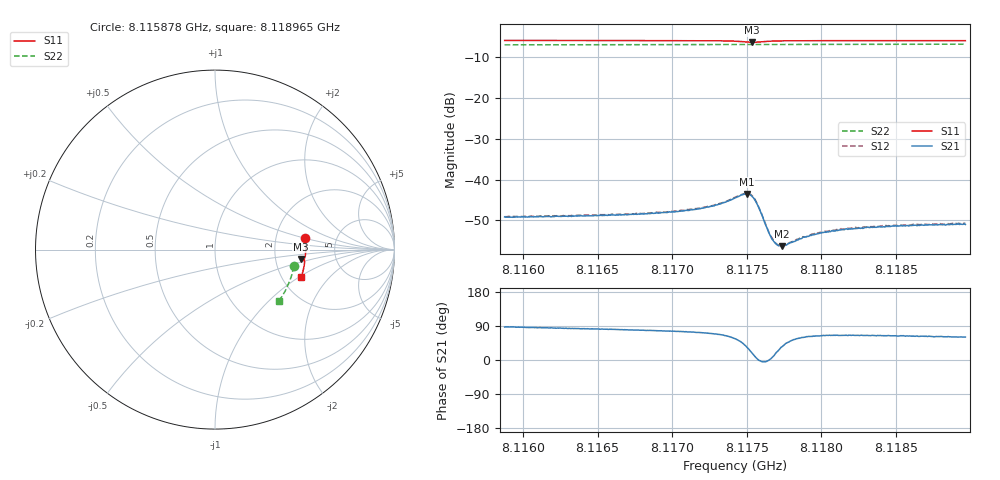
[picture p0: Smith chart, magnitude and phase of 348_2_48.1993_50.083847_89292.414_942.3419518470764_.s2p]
#  HZ  S  RI  R  50.00
! Rohde & Schwarz Vector Network Analyzer
! Rohde-Schwarz,ZNB20-2Port,1311601062101988,3.16
! Created: UTC 3/20/2024, 11:51:41 AM
! freq[Hz]  re:S11  im:S11  re:S21  im:S21  re:S12  im:S12  re:S22  im:S22
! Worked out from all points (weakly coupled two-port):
!   401 points, 8.115878 GHz to 8.118965 GHz, reference 50 ohm
!   highest |S21| = -43.47 dB at 8.117498 GHz (marker M1); lowest = -56.3 dB at 8.117737 GHz (marker M2)
!   lowest |S11| = -6.3 dB at 8.117537 GHz (marker M3), VSWR 2.86, Z = 140 - j18.9 ohm
!   |S11| at or under -10 dB: nowhere
!   |S22| runs from -7.0 to -6.8 dB; largest |S21 - S12| = 0.00017
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8.1158776e9  0.503 0.0672  0.000183 0.0035  0.000215 0.00351  0.4385 -0.0928
8.1163946e9  0.506 0.0285  0.000458 0.00357  0.000493 0.00364  0.4309 -0.1279
8.1169117e9  0.5057 -0.011  0.000872 0.0038  0.000927 0.00388  0.4208 -0.1623
8.1171973e9  0.5033 -0.0345  0.00137 0.00425  0.00143 0.00428  0.4138 -0.181
8.1173207e9  0.5004 -0.0458  0.00195 0.00463  0.00207 0.0047  0.4105 -0.1893
8.1174211e9  0.494 -0.0556  0.00332 0.00498  0.00342 0.00502  0.4075 -0.1958
8.1174982e9  0.4829 -0.0577  0.00549 0.00384  0.00561 0.00386  0.405 -0.2003
8.1175214e9  0.4797 -0.0546  0.00594 0.00274  0.0061 0.00272  0.4041 -0.2014
8.1175368e9  0.4791 -0.0517  0.00592 0.00184  0.00607 0.00181  0.4037 -0.2023
8.11756e9  0.4806 -0.0474  0.00537 0.000652  0.00549 0.000639  0.4033 -0.2037
8.1175754e9  0.483 -0.0456  0.00476 8.56e-05  0.00485 7.58e-05  0.4031 -0.2045
8.1176449e9  0.4935 -0.0484  0.0023 -4.67e-05  0.00236 -7.26e-05  0.4015 -0.2088
8.117668e9  0.4954 -0.051  0.00186 0.000198  0.00194 0.000189  0.4009 -0.2104
8.1176989e9  0.4971 -0.0545  0.00151 0.000561  0.00155 0.000547  0.3999 -0.2125
8.1177221e9  0.498 -0.0572  0.00136 0.000775  0.00138 0.000778  0.3994 -0.2139
8.1177375e9  0.4984 -0.0588  0.00125 0.000887  0.0013 0.000938  0.3989 -0.2149
8.1177606e9  0.4987 -0.0613  0.00113 0.00108  0.00118 0.00106  0.398 -0.2164
8.1178224e9  0.499 -0.0673  0.00102 0.00143  0.00106 0.00147  0.3962 -0.2204
8.1179381e9  0.4983 -0.0777  0.000979 0.00186  0.00103 0.00191  0.3925 -0.2276
8.1181542e9  0.4958 -0.0952  0.00103 0.00221  0.00107 0.00224  0.3852 -0.241
8.1184552e9  0.4907 -0.1179  0.00116 0.0024  0.00119 0.00245  0.3743 -0.2592
8.1189646e9  0.4801 -0.1545  0.00139 0.00246  0.00146 0.00254  0.354 -0.2886
